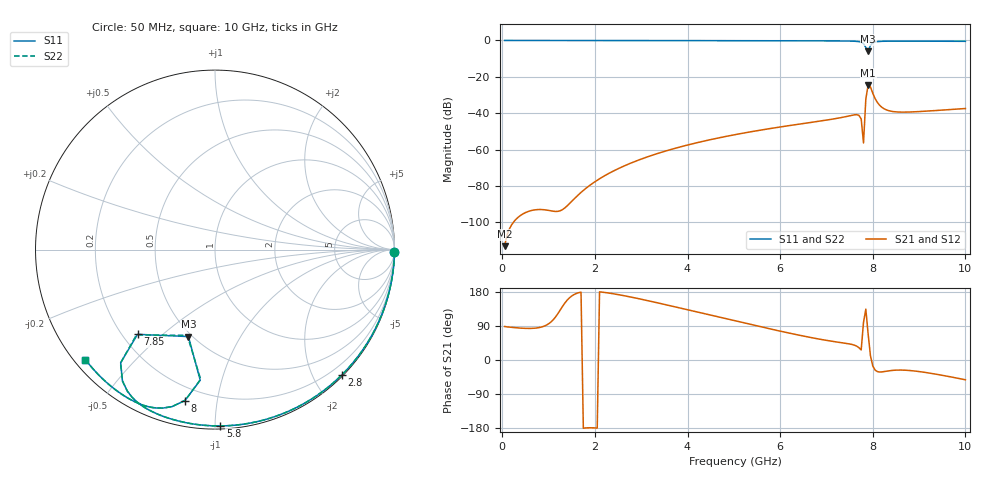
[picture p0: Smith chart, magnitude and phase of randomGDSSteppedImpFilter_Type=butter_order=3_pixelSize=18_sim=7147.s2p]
! freq	dB(S11)	phase(S11)	dB(S12)	phase(S12)
!  dB(S21)	phase(S21)	dB(S22)	phase(S22)
!S-par simulation data
#  GHz  S  DB  R 50
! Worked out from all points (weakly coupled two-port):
!   200 points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, 50 MHz to 10 GHz, reference 50 ohm
!   highest |S21| = -24.39 dB at 7.9 GHz (marker M1); lowest = -113.0 dB at 50 MHz (marker M2)
!   lowest |S11| = -5.9 dB at 7.9 GHz (marker M3), VSWR 3.05, Z = 23.9 - j31.2 ohm
!   |S11| at or under -10 dB: nowhere
!   |S22| runs from -6.0 to 0.0 dB; largest |S21 - S12| = 0
!   S11 on the Smith chart (normalised r, x): 50 MHz: open; 2.8 GHz: 0.02, -2.44; 5.8 GHz: 0.02, -1.03; 7.85 GHz: 0.26, -0.42; 8 GHz: 0.13, -0.81; 10 GHz: 0.03, -0.37
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0.05  -0.00 -0.8  -113.01 88.5  -113.01 88.5  -0.00 -0.8
1.75  -0.04 -28.2  -82.39 -179.9  -82.39 -179.9  -0.04 -28.2
1.9  -0.04 -30.6  -79.40 -178.8  -79.40 -178.8  -0.04 -30.6
2.35  -0.05 -37.6  -72.36 175.8  -72.36 175.8  -0.05 -37.6
2.8  -0.06 -44.6  -67.13 165.5  -67.13 165.5  -0.06 -44.6
3.4  -0.07 -53.7  -61.72 149.5  -61.72 149.5  -0.07 -53.7
5.05  -0.12 -77.7  -51.63 102.5  -51.63 102.5  -0.12 -77.7
5.8  -0.15 -88.2  -48.33 81.6  -48.33 81.6  -0.15 -88.2
6.7  -0.20 -100.9  -44.89 58.4  -44.89 58.4  -0.20 -100.9
7.4  -0.30 -112.3  -41.95 44.4  -41.95 44.4  -0.30 -112.3
7.7  -0.66 -121.8  -41.10 32.6  -41.10 32.6  -0.65 -121.8
7.75  -0.97 -125.2  -43.13 26.6  -43.13 26.6  -0.95 -125.1
7.8  -1.72 -129.8  -56.30 99.4  -56.30 99.4  -1.69 -129.8
7.85  -3.88 -132.4  -32.22 134.2  -32.22 134.2  -3.79 -132.6
7.9  -5.91 -107.0  -24.39 68.4  -24.39 68.4  -5.98 -108.0
7.95  -2.71 -96.4  -25.55 11.2  -25.55 11.2  -2.78 -96.3
8  -1.33 -101.3  -29.00 -15.7  -29.00 -15.7  -1.36 -101.1
8.05  -0.84 -105.3  -31.92 -26.6  -31.92 -26.6  -0.85 -105.2
8.15  -0.52 -110.4  -35.66 -31.7  -35.66 -31.7  -0.53 -110.3
8.35  -0.39 -115.9  -38.61 -28.5  -38.61 -28.5  -0.39 -115.9
8.75  -0.37 -122.9  -39.34 -27.3  -39.34 -27.3  -0.37 -122.9
10  -0.47 -139.7  -37.39 -52.2  -37.39 -52.2  -0.47 -139.7
